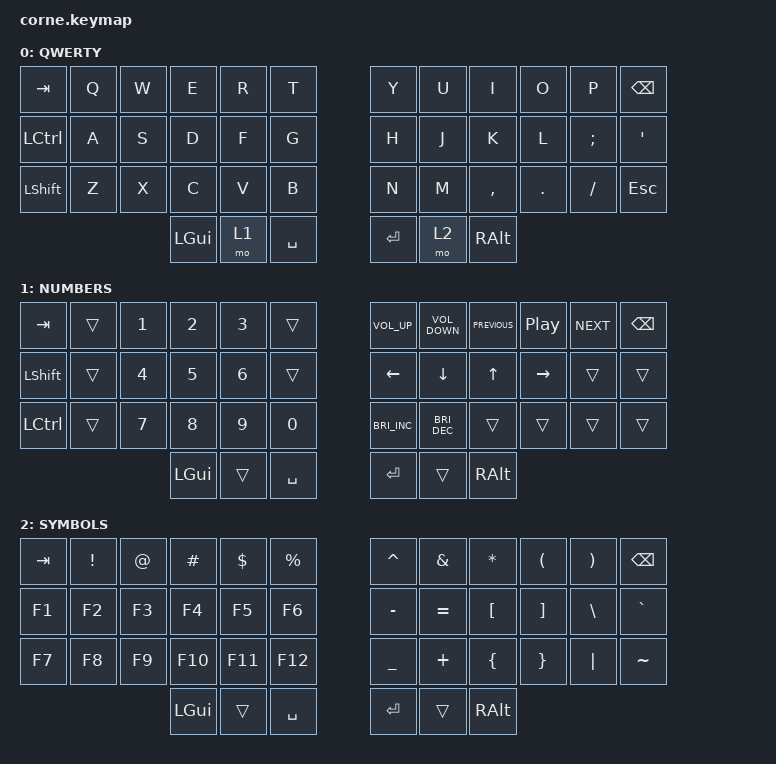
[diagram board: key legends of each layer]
/*
 * Copyright (c) 2020 The ZMK Contributors
 *
 * SPDX-License-Identifier: MIT
 */

#include <behaviors.dtsi>
#include <dt-bindings/zmk/keys.h>

/ {
    keymap {
        compatible = "zmk,keymap";

        QWERTY {
            // -----------------------------------------------------------------------------------------
            // |  TAB |  Q  |  W  |  E  |  R  |  T  |   |  Y  |  U   |  I  |  O  |  P  | BSPC |
            // | CTRL |  A  |  S  |  D  |  F  |  G  |   |  H  |  J   |  K  |  L  |  ;  |  '   |
            // | SHFT |  Z  |  X  |  C  |  V  |  B  |   |  N  |  M   |  ,  |  .  |  /  | ESC  |
            //                    | GUI | LWR | SPC |   | ENT | RSE  | ALT |

            bindings = <
&kp TAB    &kp Q  &kp W  &kp E     &kp R  &kp T        &kp Y    &kp U  &kp I      &kp O    &kp P     &kp BSPC
&kp LCTRL  &kp A  &kp S  &kp D     &kp F  &kp G        &kp H    &kp J  &kp K      &kp L    &kp SEMI  &kp SQT
&kp LSHFT  &kp Z  &kp X  &kp C     &kp V  &kp B        &kp N    &kp M  &kp COMMA  &kp DOT  &kp FSLH  &kp ESC
                         &kp LGUI  &mo 1  &kp SPACE    &kp RET  &mo 2  &kp RALT
            >;
        };

        NUMBERS {
            // -----------------------------------------------------------------------------------------
            // |  TAB |  1  |  2  |  3  |  4  |  5  |   |  6  |  7  |  8  |  9  |  0  | BSPC |
            // | BTCLR| BT1 | BT2 | BT3 | BT4 | BT5 |   | LFT | DWN |  UP | RGT |     |      |
            // | SHFT |     |     |     |     |     |   |     |     |     |     |     |      |
            //                    | GUI |     | SPC |   | ENT |     | ALT |

            bindings = <
&kp TAB         &trans  &kp NUMBER_1  &kp NUMBER_2  &kp NUMBER_3  &trans       &kp C_VOLUME_UP       &kp C_VOLUME_DOWN     &kp C_PREVIOUS  &kp C_PLAY_PAUSE  &kp C_NEXT  &kp BSPC
&kp LEFT_SHIFT  &trans  &kp NUMBER_4  &kp N5        &kp NUMBER_6  &trans       &kp LEFT              &kp DOWN              &kp UP          &kp RIGHT         &trans      &trans
&kp LCTRL       &trans  &kp N7        &kp N8        &kp N9        &kp N0       &kp C_BRIGHTNESS_INC  &kp C_BRIGHTNESS_DEC  &trans          &trans            &trans      &trans
                                      &kp LGUI      &trans        &kp SPACE    &kp RET               &trans                &kp RALT
            >;
        };

        SYMBOLS {
            // -----------------------------------------------------------------------------------------
            // |  TAB |  !  |  @  |  #  |  $  |  %  |   |  ^  |  &  |  *  |  (  |  )  | BSPC |
            // | CTRL |     |     |     |     |     |   |  -  |  =  |  [  |  ]  |  \  |  `   |
            // | SHFT |     |     |     |     |     |   |  _  |  +  |  {  |  }  | "|" |  ~   |
            //                    | GUI |     | SPC |   | ENT |     | ALT |

            bindings = <
&kp TAB  &kp EXCL  &kp AT  &kp HASH  &kp DLLR  &kp PRCNT    &kp CARET  &kp AMPS   &kp ASTRK  &kp LPAR  &kp RPAR  &kp BSPC
&kp F1   &kp F2    &kp F3  &kp F4    &kp F5    &kp F6       &kp MINUS  &kp EQUAL  &kp LBKT   &kp RBKT  &kp BSLH  &kp GRAVE
&kp F7   &kp F8    &kp F9  &kp F10   &kp F11   &kp F12      &kp UNDER  &kp PLUS   &kp LBRC   &kp RBRC  &kp PIPE  &kp TILDE
                           &kp LGUI  &trans    &kp SPACE    &kp RET    &trans     &kp RALT
            >;
        };
    };
};
